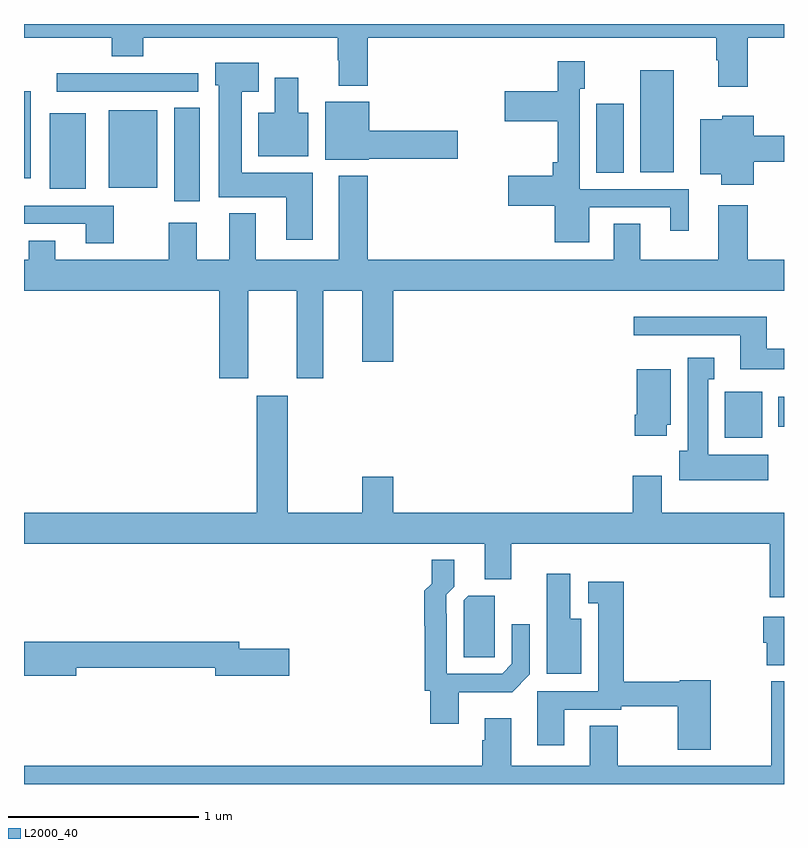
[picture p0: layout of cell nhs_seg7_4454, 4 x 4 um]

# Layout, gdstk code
import gdstk
lib = gdstk.Library(unit=1e-6, precision=1e-09)
def R(c, l, rs):  # rectangles x0, y0, x1, y1
    for r in rs: c.add(gdstk.rectangle(r[:2], r[2:], *l))
def P(c, l, *ps):  # polygons
    for p in ps: c.add(gdstk.Polygon(p, *l))
L2000_40 = (2000, 40)

nhs_seg7_4454 = lib.new_cell('nhs_seg7_4454')
R(nhs_seg7_4454, L2000_40, [(394.688,1019.822,394.885,1020.064), (394.97,1019.881,395,1020.037), (391.79,1021.068,391.924,1021.559), (391.136,1021.133,391.324,1021.531), (391.445,1021.139,391.702,1021.546), (391,1021.188,391.036,1021.645), (394.013,1021.216,394.156,1021.579), (394.244,1021.22,394.42,1021.756), (391.173,1021.644,391.918,1021.74)])
P(nhs_seg7_4454, L2000_40, [(394.808,1021.928),(395,1021.928),(395,1022),(391,1022),(391,1021.928),(391.463,1021.928),(391.463,1021.829),(391.628,1021.829),(391.628,1021.928),(392.65,1021.928),(392.65,1021.808),(392.657,1021.808),(392.657,1021.676),(392.81,1021.676),(392.81,1021.928),(394.643,1021.928),(394.643,1021.808),(394.655,1021.808),(394.655,1021.671),(394.808,1021.671)],
  [(393.976,1021.035),(394.4,1021.035),(394.4,1020.912),(394.498,1020.912),(394.498,1021.131),(393.924,1021.131),(393.924,1021.659),(393.951,1021.659),(393.951,1021.804),(393.808,1021.804),(393.808,1021.645),(393.531,1021.645),(393.531,1021.487),(393.808,1021.487),(393.808,1021.273),(393.782,1021.273),(393.782,1021.201),(393.549,1021.201),(393.549,1021.043),(393.794,1021.043),(393.794,1020.851),(393.976,1020.851)],
  [(392.521,1021.216),(392.146,1021.216),(392.146,1021.643),(392.236,1021.643),(392.236,1021.795),(392.006,1021.795),(392.006,1021.677),(392.024,1021.677),(392.024,1021.088),(392.381,1021.088),(392.381,1020.864),(392.521,1020.864)],
  [(392.497,1021.534),(392.443,1021.534),(392.443,1021.717),(392.321,1021.717),(392.321,1021.534),(392.234,1021.534),(392.234,1021.304),(392.497,1021.304)],
  [(392.814,1021.292),(393.283,1021.292),(393.283,1021.439),(392.818,1021.439),(392.818,1021.591),(392.585,1021.591),(392.585,1021.286),(392.814,1021.286)],
  [(394.841,1021.276),(395,1021.276),(395,1021.412),(394.841,1021.412),(394.841,1021.516),(394.674,1021.516),(394.674,1021.498),(394.559,1021.498),(394.559,1021.208),(394.67,1021.208),(394.67,1021.154),(394.841,1021.154)],
  [(392.179,1020.596),(392.435,1020.596),(392.435,1020.135),(392.575,1020.135),(392.575,1020.596),(392.78,1020.596),(392.78,1020.222),(392.944,1020.222),(392.944,1020.596),(395,1020.596),(395,1020.76),(394.808,1020.76),(394.808,1021.045),(394.655,1021.045),(394.655,1020.76),(394.243,1020.76),(394.243,1020.95),(394.103,1020.95),(394.103,1020.76),(392.81,1020.76),(392.81,1021.201),(392.657,1021.201),(392.657,1020.76),(392.221,1020.76),(392.221,1021.003),(392.081,1021.003),(392.081,1020.76),(391.909,1020.76),(391.909,1020.955),(391.762,1020.955),(391.762,1020.76),(391.165,1020.76),(391.165,1020.859),(391.025,1020.859),(391.025,1020.76),(391,1020.76),(391,1020.596),(392.027,1020.596),(392.027,1020.135),(392.179,1020.135)],
  [(391.473,1021.044),(391,1021.044),(391,1020.948),(391.325,1020.948),(391.325,1020.846),(391.473,1020.846)],
  [(395,1020.292),(394.909,1020.292),(394.909,1020.46),(394.209,1020.46),(394.209,1020.363),(394.769,1020.363),(394.769,1020.182),(395,1020.182)],
  [(394.918,1019.734),(394.6,1019.734),(394.6,1020.131),(394.633,1020.131),(394.633,1020.244),(394.493,1020.244),(394.493,1019.754),(394.448,1019.754),(394.448,1019.6),(394.918,1019.6)],
  [(394.384,1019.892),(394.405,1019.892),(394.405,1020.184),(394.226,1020.184),(394.226,1019.944),(394.214,1019.944),(394.214,1019.832),(394.384,1019.832)],
  [(395,1019.428),(394.357,1019.428),(394.357,1019.623),(394.205,1019.623),(394.205,1019.428),(392.944,1019.428),(392.944,1019.617),(392.78,1019.617),(392.78,1019.428),(392.389,1019.428),(392.389,1020.043),(392.225,1020.043),(392.225,1019.428),(391,1019.428),(391,1019.264),(393.425,1019.264),(393.425,1019.077),(393.565,1019.077),(393.565,1019.264),(394.926,1019.264),(394.926,1018.983),(395,1018.983)],
  [(393.289,1018.484),(393.569,1018.484),(393.663,1018.578),(393.663,1018.84),(393.567,1018.84),(393.567,1018.632),(393.516,1018.581),(393.225,1018.581),(393.225,1018.895),(393.222,1018.895),(393.222,1018.995),(393.265,1019.038),(393.265,1019.179),(393.145,1019.179),(393.145,1019.055),(393.107,1019.016),(393.107,1018.834),(393.109,1018.834),(393.109,1018.491),(393.137,1018.491),(393.137,1018.317),(393.289,1018.317)],
  [(393.934,1018.87),(393.874,1018.87),(393.874,1019.107),(393.752,1019.107),(393.752,1018.58),(393.934,1018.58)],
  [(394.614,1018.546),(394.452,1018.546),(394.452,1018.538),(394.157,1018.538),(394.157,1019.065),(393.969,1019.065),(393.969,1018.952),(394.022,1018.952),(394.022,1018.488),(393.701,1018.488),(393.701,1018.203),(393.844,1018.203),(393.844,1018.392),(394.144,1018.392),(394.144,1018.41),(394.441,1018.41),(394.441,1018.181),(394.614,1018.181)],
  [(393.477,1018.777),(393.478,1018.777),(393.478,1018.992),(393.339,1018.992),(393.315,1018.968),(393.315,1018.666),(393.477,1018.666)],
  [(395,1018.879),(394.892,1018.879),(394.892,1018.743),(394.91,1018.743),(394.91,1018.625),(395,1018.625)],
  [(391.276,1018.612),(392.006,1018.612),(392.006,1018.57),(392.395,1018.57),(392.395,1018.712),(392.134,1018.712),(392.134,1018.748),(391,1018.748),(391,1018.57),(391.276,1018.57)],
  [(395,1018.54),(394.933,1018.54),(394.933,1018.096),(394.125,1018.096),(394.125,1018.307),(393.977,1018.307),(393.977,1018.096),(393.565,1018.096),(393.565,1018.345),(393.425,1018.345),(393.425,1018.229),(393.413,1018.229),(393.413,1018.096),(391,1018.096),(391,1018),(395,1018)])

lib.write_gds('nhs_seg7_4454.gds')
